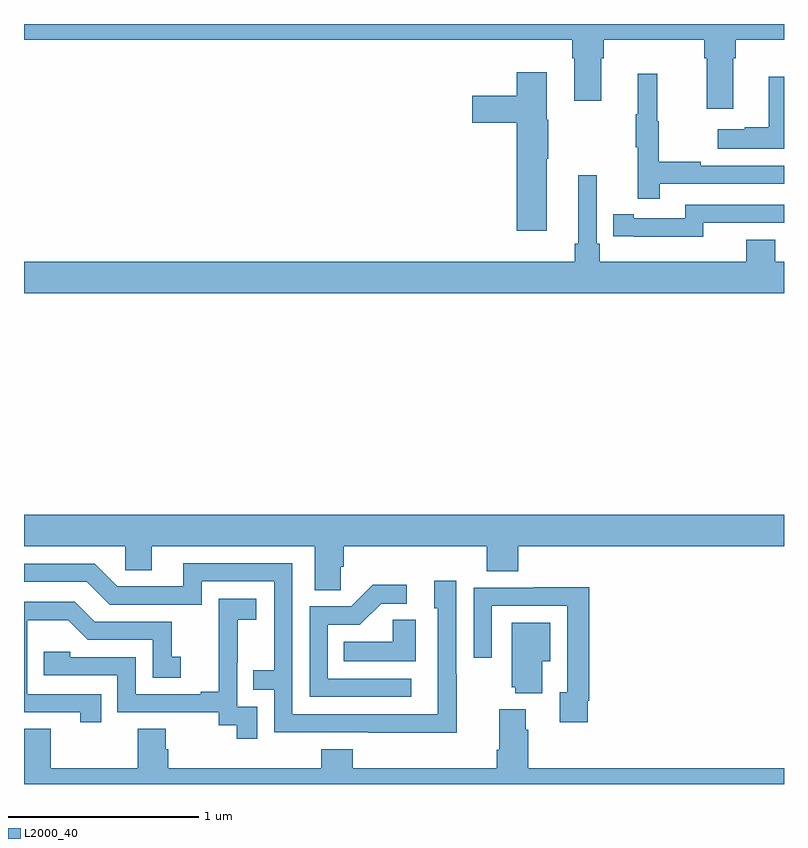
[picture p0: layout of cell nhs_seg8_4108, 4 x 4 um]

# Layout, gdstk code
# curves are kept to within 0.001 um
import gdstk
lib = gdstk.Library(unit=1e-6, precision=1e-09)
def P(c, l, *ps):  # polygons
    for p in ps: c.add(gdstk.Polygon(p, *l))
L2000_40 = (2000, 40)

nhs_seg8_4108 = lib.new_cell('nhs_seg8_4108')
P(nhs_seg8_4108, L2000_40, [(366.733,1133.72),(366.746,1133.72),(366.746,1133.816),(367,1133.816),(367,1133.9),(363,1133.9),(363,1133.816),(365.885,1133.816),(365.885,1133.72),(365.897,1133.72),(365.897,1133.496),(366.037,1133.496),(366.037,1133.72),(366.05,1133.72),(366.05,1133.816),(366.581,1133.816),(366.581,1133.72),(366.593,1133.72),(366.593,1133.454),(366.733,1133.454)],
  [(365.752,1133.191),(365.76,1133.191),(365.76,1133.397),(365.752,1133.397),(365.752,1133.647),(365.594,1133.647),(365.594,1133.523),(365.358,1133.523),(365.358,1133.381),(365.594,1133.381),(365.594,1132.812),(365.752,1132.812)],
  [(366.347,1133.058),(367,1133.058),(367,1133.154),(366.563,1133.154),(366.563,1133.174),(366.34,1133.174),(366.34,1133.388),(366.332,1133.388),(366.332,1133.638),(366.23,1133.638),(366.23,1133.425),(366.219,1133.425),(366.219,1133.251),(366.23,1133.251),(366.23,1132.98),(366.347,1132.98)],
  [(367,1133.623),(366.92,1133.623),(366.92,1133.357),(366.794,1133.357),(366.794,1133.347),(366.651,1133.347),(366.651,1133.243),(367,1133.243)],
  [(367,1132.648),(366.953,1132.648),(366.953,1132.765),(366.8,1132.765),(366.8,1132.648),(366.029,1132.648),(366.029,1132.744),(366.015,1132.744),(366.015,1133.104),(365.918,1133.104),(365.918,1132.744),(365.899,1132.744),(365.899,1132.648),(363,1132.648),(363,1132.484),(367,1132.484)],
  [(366.576,1132.854),(367,1132.854),(367,1132.95),(366.48,1132.95),(366.48,1132.878),(366.208,1132.878),(366.208,1132.898),(366.1,1132.898),(366.1,1132.782),(366.208,1132.782),(366.208,1132.781),(366.576,1132.781)],
  [(364.668,1131.043),(364.682,1131.043),(364.682,1131.152),(365.435,1131.152),(365.435,1131.019),(365.6,1131.019),(365.6,1131.152),(367,1131.152),(367,1131.316),(363,1131.316),(363,1131.152),(363.534,1131.152),(363.534,1131.025),(363.673,1131.025),(363.673,1131.152),(364.529,1131.152),(364.529,1130.92),(364.668,1130.92)],
  [(365.277,1130.477),(365.274,1130.477),(365.274,1130.971),(365.159,1130.971),(365.159,1130.826),(365.178,1130.826),(365.178,1130.268),(364.413,1130.268),(364.413,1131.063),(363.839,1131.063),(363.839,1130.94),(363.492,1130.94),(363.372,1131.06),(363,1131.06),(363,1130.964),(363.33,1130.964),(363.45,1130.844),(363.936,1130.844),(363.936,1130.967),(364.317,1130.967),(364.317,1130.498),(364.207,1130.498),(364.207,1130.397),(364.317,1130.397),(364.317,1130.172),(365.277,1130.171)],
  [(365.038,1130.454),(364.599,1130.454),(364.599,1130.739),(364.768,1130.739),(364.879,1130.85),(365.014,1130.85),(365.014,1130.948),(364.835,1130.948),(364.722,1130.835),(364.503,1130.835),(364.503,1130.358),(365.038,1130.358)],
  [(365.968,1130.338),(365.975,1130.338),(365.975,1130.936),(365.683,1130.936),(365.683,1130.934),(365.367,1130.934),(365.367,1130.565),(365.463,1130.565),(365.463,1130.838),(365.859,1130.838),(365.859,1130.382),(365.819,1130.382),(365.819,1130.226),(365.968,1130.226)],
  [(364.227,1130.307),(364.122,1130.307),(364.122,1130.537),(364.124,1130.537),(364.124,1130.765),(364.222,1130.765),(364.222,1130.875),(364.024,1130.875),(364.024,1130.669),(364.025,1130.669),(364.025,1130.386),(363.929,1130.386),(363.929,1130.373),(363.588,1130.373),(363.588,1130.568),(363.243,1130.568),(363.243,1130.595),(363.103,1130.595),(363.103,1130.472),(363.492,1130.472),(363.492,1130.277),(364.026,1130.277),(364.026,1130.209),(364.119,1130.209),(364.119,1130.139),(364.227,1130.139)],
  [(363.407,1130.373),(363.018,1130.373),(363.018,1130.762),(363.232,1130.762),(363.336,1130.658),(363.678,1130.658),(363.678,1130.46),(363.826,1130.46),(363.826,1130.569),(363.777,1130.569),(363.777,1130.754),(363.373,1130.754),(363.268,1130.859),(363,1130.859),(363,1130.277),(363.296,1130.277),(363.296,1130.226),(363.407,1130.226)],
  [(365.062,1130.765),(364.941,1130.765),(364.941,1130.65),(364.684,1130.65),(364.684,1130.546),(365.062,1130.546)],
  [(365.728,1130.546),(365.77,1130.546),(365.77,1130.749),(365.567,1130.749),(365.567,1130.409),(365.585,1130.409),(365.585,1130.378),(365.728,1130.378)],
  [(367,1129.984),(365.654,1129.984),(365.654,1130.186),(365.641,1130.186),(365.641,1130.293),(365.501,1130.293),(365.501,1130.08),(365.489,1130.08),(365.489,1129.984),(364.73,1129.984),(364.73,1130.083),(364.565,1130.083),(364.565,1129.984),(363.758,1129.984),(363.758,1130.082),(363.745,1130.082),(363.745,1130.192),(363.598,1130.192),(363.598,1129.984),(363.141,1129.984),(363.141,1130.192),(363,1130.192),(363,1129.9),(367,1129.9)])

lib.write_gds('nhs_seg8_4108.gds')
